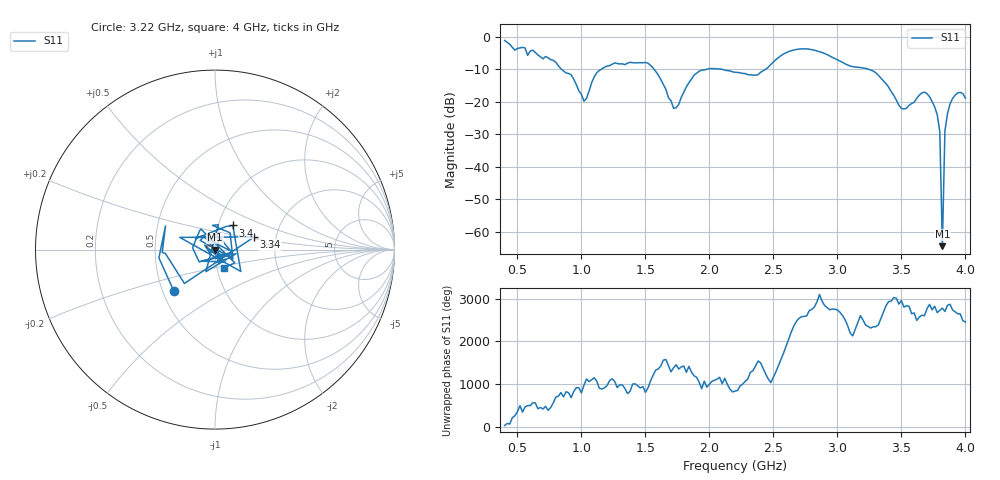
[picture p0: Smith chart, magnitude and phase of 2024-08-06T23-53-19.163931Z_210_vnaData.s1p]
!Created with skrf (http://scikit-rf.org).
# Hz S RI R 50.0
!freq ReS11 ImS11
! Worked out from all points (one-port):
!   181 points, 400 MHz to 4 GHz, reference 50 ohm
!   lowest |S11| = -64.5 dB at 3.82 GHz (marker M1), VSWR 1.00, Z = 50 - j0.0587 ohm
!   |S11| at or under -10 dB: 1.567 GHz to 1.986 GHz (418.9 MHz wide, 23.6 % of centre); 2.088 GHz to 2.441 GHz (353 MHz wide, 15.6 % of centre); 3.239 GHz to end of sweep (the widest 3 of 4)
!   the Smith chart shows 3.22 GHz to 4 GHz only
!   S11 on the Smith chart (normalised r, x): 3.22 GHz: 0.57, -0.29; 3.34 GHz: 1.54, +0.23; 3.4 GHz: 1.17, +0.32; 4 GHz: 1.08, -0.22
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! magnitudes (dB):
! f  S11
! 400 MHz  -1.2
! 860 MHz  -10.6
! 920 MHz  -11.8
! 1.02 GHz  -19.9
! 1.12 GHz  -11.1
! 1.3 GHz  -8.4
! 1.52 GHz  -8.2
! 1.6 GHz  -11.8
! 1.72 GHz  -22.1
! 1.76 GHz  -20.9
! 1.92 GHz  -10.7
! 2.2 GHz  -11.0
! 2.38 GHz  -11.7
! 2.66 GHz  -4.1
! 3.1 GHz  -9.1
! 3.22 GHz  -9.8
! 3.34 GHz  -12.8
! 3.4 GHz  -15.6
! 3.5 GHz  -22.1
! 3.56 GHz  -21.1
! 3.68 GHz  -17.1
! 3.78 GHz  -24.0
! 3.8 GHz  -29.3
! 3.82 GHz  -64.5
! 3.84 GHz  -29.1
! 3.86 GHz  -23.8
! 3.94 GHz  -17.3
! 4 GHz  -18.9
